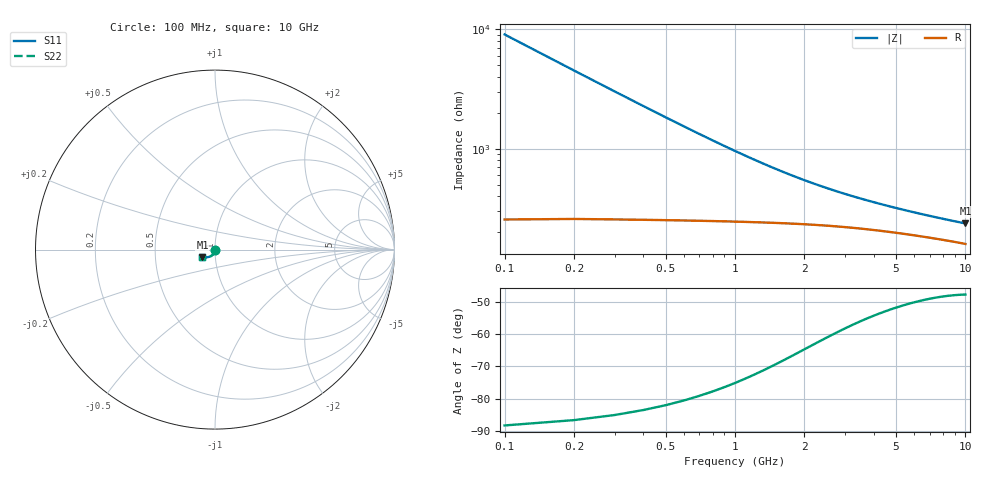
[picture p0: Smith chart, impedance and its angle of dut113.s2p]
! Touchstone file exported from HFSS 2024.1.0
!  File:  C:/UserFiles/LocalFiles/RDL_TSV_Batchsim/temp_TSV1_113_1778752602.aedt
!  Generated:  06:00:25 PM May 14, 2026
!  Design:  TSV1
!  Project:  temp_TSV1_113_1778752602
!  Setup:  Setup1
!  Solution:  Sweep
! Variables:
!  dtsv = 19.22um
!  hbump = 3um
!  htsv = 75.51um
!  lrdl = 252.1521522um
!  p = 40
!  p1 = 51.43um
!  t = 500um
!  trdl = 3um
!  wrdl = 24.89489489um
# GHz S MA R 50.000000
! Terminal data exported
! Port[1] = TSV22_T1
! Port[2] = TSV22_T2
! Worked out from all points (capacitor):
!   100 points, 100 MHz to 10 GHz, reference 50 ohm
!   read as one part in shunt: C = 176 fF near 100 MHz
!   lowest |Z| = 238 ohm at 10 GHz (marker M1)
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0.1  0.002463 -90.2  0.9998 -0.2  0.9998 -0.2  0.002463 -90.2
! Gamma 0 0 0 0
! Port Impedance 50 0 50 0
0.2  0.004943 -93.0  0.9996 -0.3  0.9996 -0.3  0.004943 -93.0
0.3  0.007397 -95.1  0.9992 -0.5  0.9992 -0.5  0.007398 -95.1
0.4  0.00982 -97.0  0.9986 -0.7  0.9986 -0.7  0.00982 -97.0
0.5  0.0122 -98.9  0.9979 -0.8  0.9979 -0.8  0.0122 -98.9
0.6  0.01454 -100.7  0.9971 -1.0  0.9971 -1.0  0.01454 -100.7
0.7  0.01681 -102.4  0.9961 -1.2  0.9961 -1.2  0.01681 -102.4
0.8  0.01903 -104.2  0.9951 -1.3  0.9951 -1.3  0.01903 -104.2
0.9  0.02118 -105.8  0.994 -1.4  0.994 -1.4  0.02118 -105.8
1.1  0.02528 -109.0  0.9916 -1.7  0.9916 -1.7  0.02528 -109.0
1.4  0.03087 -113.3  0.9878 -2.1  0.9878 -2.1  0.03087 -113.3
1.6  0.03424 -115.9  0.9851 -2.3  0.9851 -2.3  0.03424 -115.9
1.8  0.03734 -118.3  0.9824 -2.4  0.9824 -2.4  0.03734 -118.3
2.1  0.04151 -121.5  0.9786 -2.7  0.9786 -2.7  0.04151 -121.5
2.5  0.04632 -125.1  0.9737 -3.0  0.9737 -3.0  0.04632 -125.1
2.9  0.05043 -128.2  0.9693 -3.2  0.9693 -3.2  0.05043 -128.2
3.4  0.05481 -131.3  0.9644 -3.4  0.9644 -3.4  0.05481 -131.3
4.2  0.06055 -135.3  0.9577 -3.8  0.9577 -3.8  0.06055 -135.3
5.1  0.06573 -138.6  0.9516 -4.1  0.9516 -4.1  0.06573 -138.6
6.7  0.07276 -142.9  0.9431 -4.6  0.9431 -4.6  0.07276 -142.9
8.4  0.07826 -146.0  0.9364 -5.1  0.9364 -5.1  0.07826 -146.0
10  0.08225 -148.1  0.9317 -5.6  0.9317 -5.6  0.08225 -148.1
